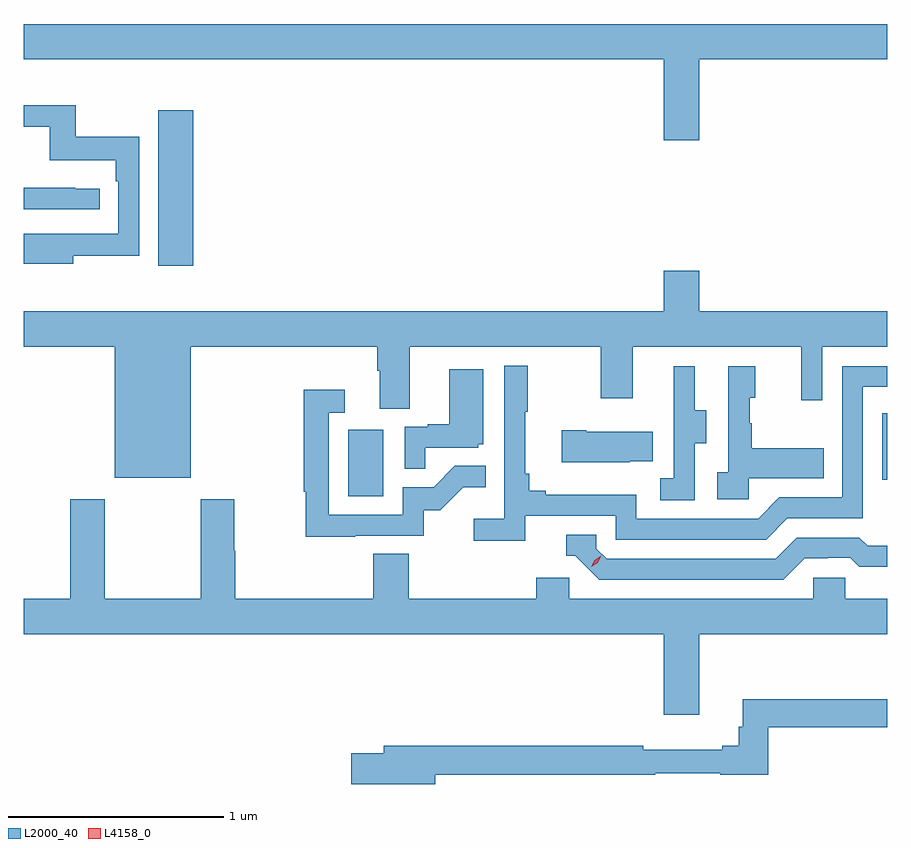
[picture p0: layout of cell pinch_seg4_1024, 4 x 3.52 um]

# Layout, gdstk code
import gdstk
lib = gdstk.Library(unit=1e-6, precision=1e-09)
def R(c, l, rs):  # rectangles x0, y0, x1, y1
    for r in rs: c.add(gdstk.rectangle(r[:2], r[2:], *l))
def P(c, l, *ps):  # polygons
    for p in ps: c.add(gdstk.Polygon(p, *l))
L2000_40 = (2000, 40)
L4158_0 = (4158, 0)

pinch_seg4_1024 = lib.new_cell('pinch_seg4_1024')
R(pinch_seg4_1024, L2000_40, [(798.908,768.156,799.072,768.463), (801.384,768.231,801.406,768.54), (798.029,769.224,798.19,769.945)])
P(pinch_seg4_1024, L2000_40, [(800.536,770.18),(801.406,770.18),(801.406,770.344),(797.406,770.344),(797.406,770.18),(800.372,770.18),(800.372,769.806),(800.536,769.806)],
  [(797.635,769.27),(797.94,769.27),(797.94,769.822),(797.647,769.822),(797.647,769.968),(797.406,769.968),(797.406,769.867),(797.526,769.867),(797.526,769.712),(797.831,769.712),(797.831,769.616),(797.844,769.616),(797.844,769.371),(797.531,769.371),(797.531,769.372),(797.406,769.372),(797.406,769.232),(797.635,769.232)],
  [(797.758,769.581),(797.645,769.581),(797.645,769.586),(797.406,769.586),(797.406,769.485),(797.758,769.485)],
  [(798.178,768.848),(799.043,768.848),(799.043,768.736),(799.055,768.736),(799.055,768.562),(799.195,768.562),(799.195,768.848),(800.08,768.848),(800.08,768.609),(800.227,768.609),(800.227,768.848),(801.008,768.848),(801.008,768.6),(801.105,768.6),(801.105,768.848),(801.406,768.848),(801.406,769.012),(800.536,769.012),(800.536,769.201),(800.372,769.201),(800.372,769.012),(797.406,769.012),(797.406,768.848),(797.828,768.848),(797.828,768.242),(798.178,768.242)],
  [(799.73,768.066),(800.148,768.066),(800.148,767.955),(800.845,767.955),(800.944,768.054),(801.294,768.054),(801.294,768.663),(801.406,768.663),(801.406,768.759),(801.198,768.759),(801.198,768.15),(800.907,768.15),(800.808,768.051),(800.244,768.051),(800.244,768.163),(799.825,768.163),(799.825,768.182),(799.748,768.182),(799.748,768.259),(799.729,768.259),(799.729,768.547),(799.741,768.547),(799.741,768.76),(799.632,768.76),(799.632,768.052),(799.491,768.052),(799.491,767.95),(799.73,767.95)],
  [(800.766,768.239),(801.113,768.239),(801.113,768.379),(800.779,768.379),(800.779,768.494),(800.769,768.494),(800.769,768.612),(800.794,768.612),(800.794,768.757),(800.67,768.757),(800.67,768.266),(800.619,768.266),(800.619,768.141),(800.766,768.141)],
  [(800.514,768.4),(800.569,768.4),(800.569,768.555),(800.515,768.555),(800.515,768.757),(800.417,768.757),(800.417,768.543),(800.418,768.543),(800.418,768.239),(800.355,768.239),(800.355,768.136),(800.514,768.136)],
  [(799.265,768.381),(799.512,768.381),(799.512,768.396),(799.534,768.396),(799.534,768.745),(799.376,768.745),(799.376,768.49),(799.277,768.49),(799.277,768.477),(799.17,768.477),(799.17,768.283),(799.265,768.283)],
  [(798.941,767.973),(799.26,767.973),(799.26,768.09),(799.336,768.09),(799.443,768.197),(799.547,768.197),(799.547,768.296),(799.403,768.296),(799.305,768.198),(799.161,768.198),(799.161,768.069),(798.819,768.069),(798.819,768.543),(798.892,768.543),(798.892,768.649),(798.703,768.649),(798.703,768.176),(798.711,768.176),(798.711,767.968),(798.941,767.968)],
  [(800.213,768.317),(800.321,768.317),(800.321,768.454),(800.011,768.454),(800.011,768.462),(799.899,768.462),(799.899,768.314),(800.213,768.314)],
  [(800.536,767.516),(801.406,767.516),(801.406,767.68),(801.213,767.68),(801.213,767.778),(801.063,767.778),(801.063,767.68),(799.932,767.68),(799.932,767.778),(799.781,767.778),(799.781,767.68),(799.19,767.68),(799.19,767.888),(799.025,767.888),(799.025,767.68),(798.386,767.68),(798.386,767.903),(798.381,767.903),(798.381,768.142),(798.226,768.142),(798.226,767.68),(797.781,767.68),(797.781,768.142),(797.621,768.142),(797.621,767.68),(797.406,767.68),(797.406,767.516),(800.372,767.516),(800.372,767.142),(800.536,767.142)],
  [(801.025,767.868),(801.132,767.868),(801.132,767.871),(801.235,767.871),(801.277,767.829),(801.406,767.829),(801.406,767.925),(801.316,767.925),(801.277,767.964),(800.988,767.964),(800.889,767.865),(800.106,767.865),(800.058,767.913),(800.058,767.976),(799.919,767.976),(799.919,767.88),(799.962,767.88),(800.073,767.769),(800.926,767.769)],
  [(799.312,766.864),(800.332,766.864),(800.332,766.872),(800.632,766.872),(800.632,766.864),(800.855,766.864),(800.855,767.086),(801.406,767.086),(801.406,767.215),(800.738,767.215),(800.738,767.088),(800.719,767.088),(800.719,767),(800.642,767),(800.642,766.981),(800.276,766.981),(800.276,767),(799.073,767),(799.073,766.964),(798.924,766.964),(798.924,766.822),(799.312,766.822)])
P(pinch_seg4_1024, L4158_0, [(800.034,767.828),(800.034,767.828),(800.051,767.86),(800.082,767.879),(800.082,767.879),(800.082,767.879),(800.065,767.847),(800.034,767.828)])

lib.write_gds('pinch_seg4_1024.gds')
